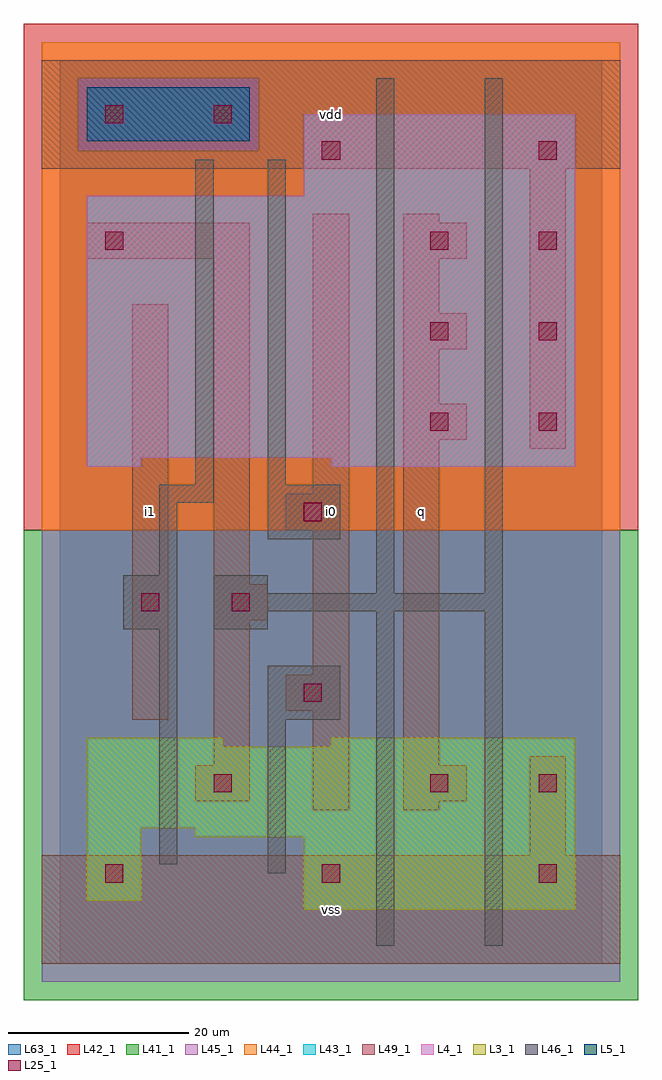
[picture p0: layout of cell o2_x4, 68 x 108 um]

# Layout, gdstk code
import gdstk
lib = gdstk.Library(unit=1e-6, precision=1e-09)
def R(c, l, rs):  # rectangles x0, y0, x1, y1
    for r in rs: c.add(gdstk.rectangle(r[:2], r[2:], *l))
def A(c, l, x, y, w, h, nx, ny, dx, dy):  # array of equal rectangles
    R(c, l, [(x+i*dx, y+j*dy, x+i*dx+w, y+j*dy+h) for i in range(nx) for j in range(ny)])
L3_1 = (3, 1)
L4_1 = (4, 1)
L5_1 = (5, 1)
L25_1 = (25, 1)
L41_1 = (41, 1)
L42_1 = (42, 1)
L43_1 = (43, 1)
L44_1 = (44, 1)
L45_1 = (45, 1)
L46_1 = (46, 1)
L49_1 = (49, 1)
L63_1 = (63, 1)

o2_x4 = lib.new_cell('o2_x4')
R(o2_x4, L3_1, [(27,6,57,14), (3,7,9,15), (15,14,57,15), (3,15,57,24), (3,24,18,25), (30,24,57,25)])
R(o2_x4, L4_1, [(3,55,9,56), (30,55,57,56), (3,56,57,85), (27,85,57,94)])
R(o2_x4, L5_1, [(3,91,21,97)])
A(o2_x4, L25_1, 5, 9, 2, 2, 3, 1, 24, 0)
A(o2_x4, L25_1, 41, 59, 2, 2, 1, 3, 0, 10)
A(o2_x4, L25_1, 53, 59, 2, 2, 1, 4, 0, 10)
R(o2_x4, L25_1, [(17,19,19,21), (41,19,43,21), (53,19,55,21), (27,29,29,31), (9,39,11,41), (19,39,21,41), (27,49,29,51), (5,79,7,81), (29,89,31,91), (5,93,7,95), (17,93,19,95)])
R(o2_x4, L41_1, [(-4,-4,64,48)])
R(o2_x4, L42_1, [(-4,48,64,104)])
R(o2_x4, L43_1, [(27,6,57,14), (3,7,9,15), (15,14,57,15), (3,15,57,24), (3,24,18,25), (30,24,57,25), (3,55,9,56), (30,55,57,56), (3,56,57,85), (27,85,57,94), (3,91,21,97)])
R(o2_x4, L44_1, [(-2,48,62,90), (-2,90,2,98), (22,90,62,98), (-2,98,62,102)])
R(o2_x4, L45_1, [(-2,-2,62,48), (2,90,22,98)])
R(o2_x4, L46_1, [(35,2,37,39), (47,2,49,39), (23,10,25,27), (11,11,13,37), (23,27,31,33), (7,37,13,43), (17,37,23,39), (17,39,49,41), (17,41,23,43), (35,41,37,98), (47,41,49,98), (11,43,13,51), (23,47,31,53), (11,51,17,53), (15,53,17,89), (23,53,25,89)])
A(o2_x4, L49_1, 38, 58, 7, 4, 1, 3, 0, 10)
R(o2_x4, L49_1, [(-2,0,62,12), (52,12,56,23), (28,17,32,28), (38,17,42,18), (15,18,21,22), (38,18,45,22), (17,22,21,38), (38,22,42,58), (8,27,12,73), (25,28,32,32), (28,32,32,48), (17,38,23,42), (17,42,21,78), (25,48,32,52), (28,52,32,83), (52,57,56,88), (38,62,42,68), (38,72,42,78), (3,78,21,82), (38,82,42,83), (-2,88,62,100)])
R(o2_x4, L63_1, [(0,0,60,100)])
o2_x4.add(gdstk.Label('i1', (10,50), layer=49, texttype=1))
o2_x4.add(gdstk.Label('vss', (30,6), layer=49, texttype=1))
o2_x4.add(gdstk.Label('q', (40,50), layer=49, texttype=1))
o2_x4.add(gdstk.Label('i0', (30,50), layer=49, texttype=1))
o2_x4.add(gdstk.Label('vdd', (30,94), layer=49, texttype=1))

lib.write_gds('o2_x4.gds')
